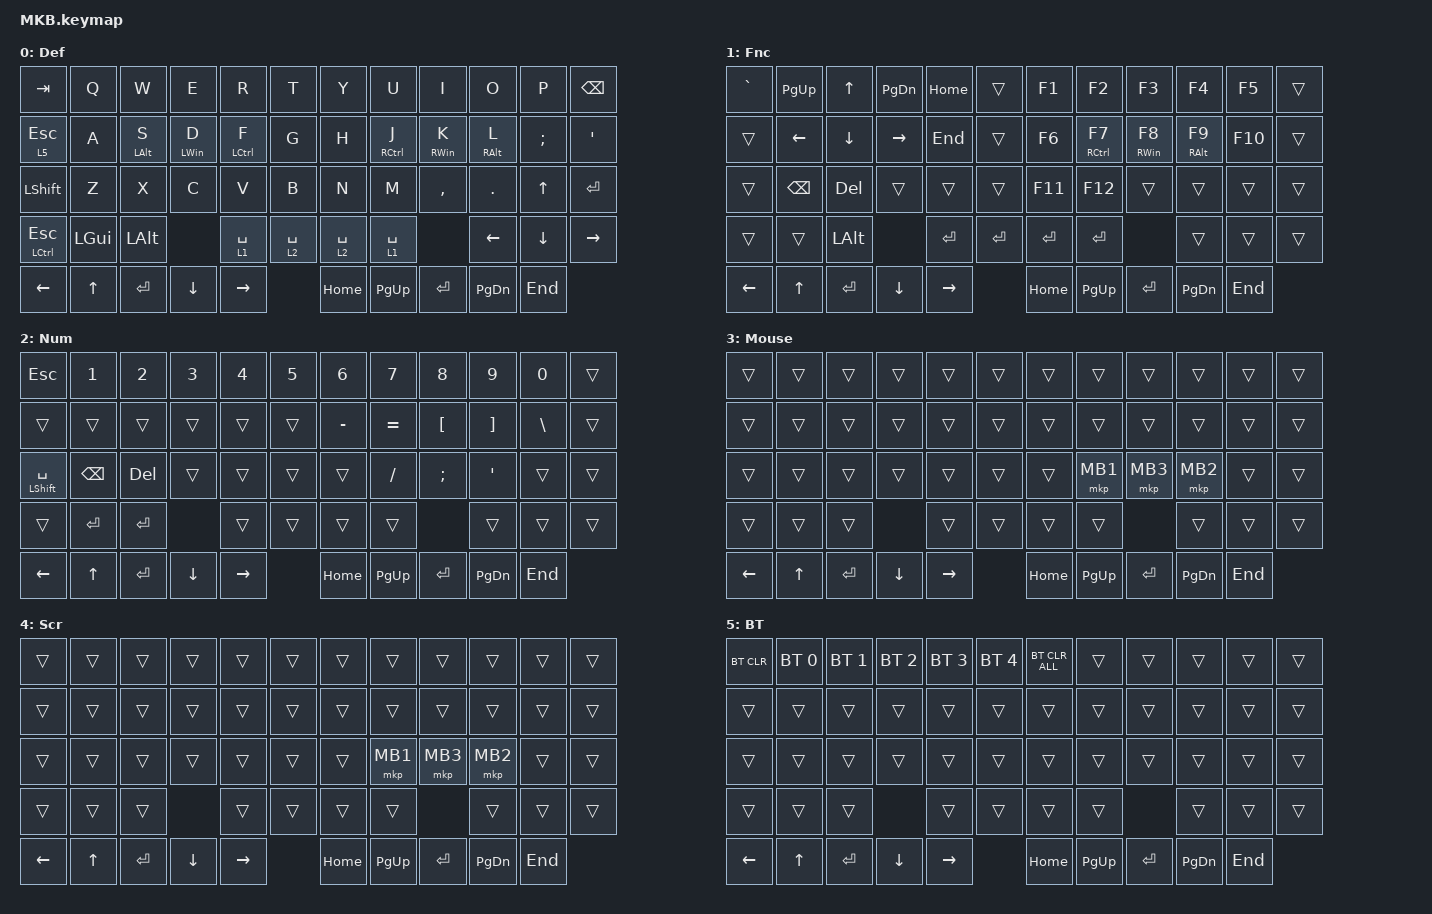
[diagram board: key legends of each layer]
#include <behaviors.dtsi>
#include <dt-bindings/zmk/keys.h>
#include <dt-bindings/zmk/pointing.h>
#include <dt-bindings/zmk/bt.h>
#include <dt-bindings/zmk/outputs.h>

#define DEF 0
#define FUNC 1
#define NUM 2
#define MOUSE 3
#define SCROLL 4
#define BT 5

/ {
	// behaviors {
	// 	leader1: leader1 {
    //         compatible = "zmk,behavior-leader-key";
    //         #binding-cells = <0>;
    //         leftdown { sequence = <F14 F15>; bindings = <&kp PG_DN>; };
    //         out { sequence = <O U T>; bindings = <&out OUT_TOG>; };
    //     };
    //     leader2: leader2 {
    //         compatible = "zmk,behavior-leader-key";
    //         #binding-cells = <0>;
    //         leftup   { sequence = <F14 F13>; bindings = <&kp PG_UP>; };
    //     };
    //     leader3: leader3 {
    //         compatible = "zmk,behavior-leader-key";
    //         #binding-cells = <0>;
    //         rightdown { sequence = <F17 F18>; bindings = <&kp END>; };
    //     };
    //     leader4: leader4 {
    //         compatible = "zmk,behavior-leader-key";
    //         #binding-cells = <0>;
    //         rightup   { sequence = <F17 F16>; bindings = <&kp HOME>; };
    //     };
	// 	mF13: mF13 {
    //         compatible = "zmk,behavior-macro";
    //         #binding-cells = <0>;
    //         bindings = <&macro_tap &kp F13>
    //                  , <&leader1>;
    //     };
    //     mF14: mF14 {
    //         compatible = "zmk,behavior-macro";
    //         #binding-cells = <0>;
    //         bindings = <&macro_tap &kp F14>;
    //     };
    //     mF15: mF15 {
    //         compatible = "zmk,behavior-macro";
    //         #binding-cells = <0>;
    //         bindings = <&macro_tap &kp F15>
    //                  , <&leader2>;
    //     };
    //     mF16: mF16 {
    //         compatible = "zmk,behavior-macro";
    //         #binding-cells = <0>;
    //         bindings = <&macro_tap &kp F16>
    //                 , <&leader3>;
    //     };
    //     mF17: mF17 {
    //         compatible = "zmk,behavior-macro";
    //         #binding-cells = <0>;
    //         bindings = <&macro_tap &kp F17>;
    //     };
    //     mF18: mF18 {
    //         compatible = "zmk,behavior-macro";
    //         #binding-cells = <0>;
    //         bindings = <&macro_tap &kp F18>
    //                 , <&leader4>;
    //     };
	//};
	
	keymap {
		compatible = "zmk,keymap";
		default_layer {
			label="Def";
			bindings = <
&kp TAB          &kp Q             &kp W            &kp E            &kp R            &kp T                &kp Y             &kp U            &kp I            &kp O            &kp P           &kp BKSP
&lt 5 ESC        &kp A             &mt LEFT_ALT S   &mt LEFT_WIN D   &mt LCTRL F      &kp G                &kp H             &mt RCTRL J      &mt RIGHT_WIN K  &mt RIGHT_ALT L  &kp SEMI        &kp SQT
&kp LSHFT        &kp Z             &kp X            &kp C            &kp V            &kp B                &kp N             &kp M            &kp COMMA        &kp DOT          &kp UP          &kp ENTER
&mt LCTL ESC     &kp LGUI          &kp LALT                          &lt 1 SPACE      &lt 2 SPACE          &lt 2 SPACE       &lt 1 SPACE                       &kp LEFT         &kp DOWN        &kp RIGHT
//<              ^                 +                _                >                                     <                 ^                +                _                >
&kp LEFT         &kp UP            &kp ENTER        &kp DOWN         &kp RIGHT                             &kp HOME          &kp PG_UP        &kp ENTER        &kp PG_DN        &kp END
			>;
		};
		
		function_layer {
			label="Fnc";
			bindings = <
&kp GRAVE        &kp PG_UP         &kp UP           &kp PG_DN        &kp HOME         &trans               &kp F1            &kp F2           &kp F3           &kp F4            &kp F5         &trans
&trans           &kp LEFT          &kp DOWN         &kp RIGHT        &kp END          &trans               &kp F6            &mt RCTRL F7     &mt RIGHT_WIN F8 &mt RIGHT_ALT F9  &kp F10        &trans
&trans           &kp BKSP          &kp DEL          &trans           &trans           &trans               &kp F11           &kp F12          &trans           &trans            &trans         &trans
&trans           &trans            &kp LALT                          &kp ENTER        &kp ENTER            &kp ENTER         &kp ENTER                         &trans            &trans         &trans
//<              ^                 +                _                >                                     <                 ^                +                _                >
&kp LEFT         &kp UP            &kp ENTER        &kp DOWN         &kp RIGHT                             &kp HOME          &kp PG_UP        &kp ENTER        &kp PG_DN        &kp END
			>;
		};
		
		num_layer {
			label="Num";
			bindings = <
&kp ESC           &kp N1           &kp N2           &kp N3           &kp N4           &kp N5               &kp N6           &kp N7           &kp N8           &kp N9            &kp N0          &trans
&trans            &trans           &trans           &trans           &trans           &trans               &kp MINUS        &kp EQUAL        &kp LBKT         &kp RBKT          &kp BSLH        &trans
&mt LSHFT SPACE   &kp BACKSPACE    &kp DEL          &trans           &trans           &trans               &trans           &kp FSLH         &kp SEMI         &kp SQT           &trans          &trans  
&trans            &kp ENTER        &kp ENTER                         &trans           &trans               &trans           &trans                            &trans            &trans          &trans
//<              ^                 +                _                >                                     <                 ^                +                _                >
&kp LEFT         &kp UP            &kp ENTER        &kp DOWN         &kp RIGHT                             &kp HOME          &kp PG_UP        &kp ENTER        &kp PG_DN        &kp END
			>;
		};
		
		mouse_layer {
			label="Mouse";
			bindings = <
&trans            &trans           &trans           &trans           &trans           &trans               &trans           &trans           &trans           &trans           &trans           &trans
&trans            &trans           &trans           &trans           &trans           &trans               &trans           &trans           &trans           &trans           &trans           &trans
&trans            &trans           &trans           &trans           &trans           &trans               &trans           &mkp MB1         &mkp MB3         &mkp MB2         &trans           &trans
&trans            &trans           &trans                            &trans           &trans               &trans           &trans                            &trans           &trans           &trans
//<              ^                 +                _                >                                     <                 ^                +                _                >
&kp LEFT         &kp UP            &kp ENTER        &kp DOWN         &kp RIGHT                             &kp HOME          &kp PG_UP        &kp ENTER        &kp PG_DN        &kp END
			>;
		};
		
		scroll_layer {
			label="Scr";
			bindings = <
&trans            &trans           &trans           &trans           &trans           &trans               &trans           &trans           &trans           &trans           &trans           &trans
&trans            &trans           &trans           &trans           &trans           &trans               &trans           &trans           &trans           &trans           &trans           &trans
&trans            &trans           &trans           &trans           &trans           &trans               &trans           &mkp MB1         &mkp MB3         &mkp MB2         &trans           &trans
&trans            &trans           &trans                            &trans           &trans               &trans           &trans                            &trans           &trans           &trans
//<              ^                 +                _                >                                     <                 ^                +                _                >
&kp LEFT         &kp UP            &kp ENTER        &kp DOWN         &kp RIGHT                             &kp HOME          &kp PG_UP        &kp ENTER        &kp PG_DN        &kp END
			>;
		};
		
		bt_layer {
			label="BT";
			bindings = <
&bt BT_CLR        &bt BT_SEL 0     &bt BT_SEL 1     &bt BT_SEL 2     &bt BT_SEL 3     &bt BT_SEL 4         &bt BT_CLR_ALL  &trans           &trans           &trans           &trans           &trans
&trans            &trans           &trans           &trans           &trans           &trans               &trans           &trans           &trans           &trans           &trans           &trans
&trans            &trans           &trans           &trans           &trans           &trans               &trans           &trans           &trans           &trans           &trans           &trans
&trans            &trans           &trans                            &trans           &trans               &trans           &trans                            &trans           &trans           &trans
//<              ^                 +                _                >                                     <                 ^                +                _                >
&kp LEFT         &kp UP            &kp ENTER        &kp DOWN         &kp RIGHT                             &kp HOME          &kp PG_UP        &kp ENTER        &kp PG_DN        &kp END
			>;
		};
	};
};
